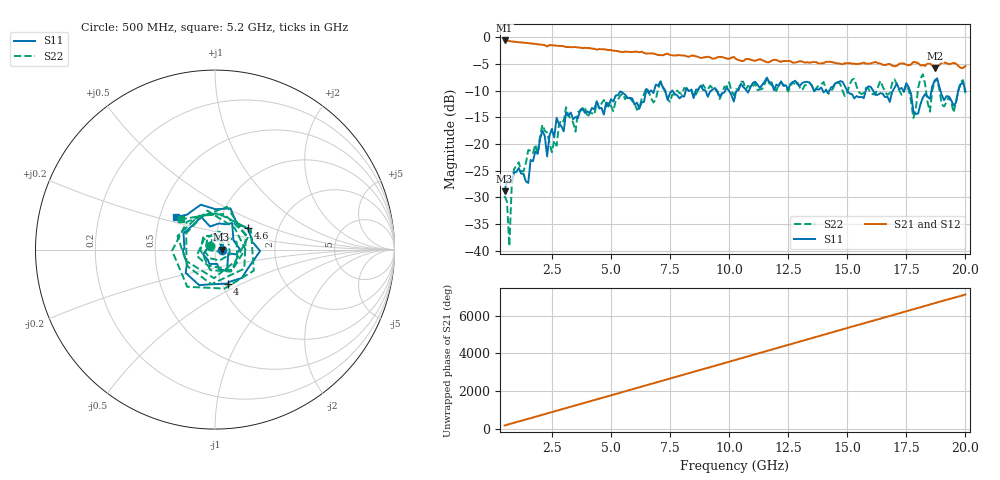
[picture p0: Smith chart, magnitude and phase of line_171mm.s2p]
!Created with skrf (http://scikit-rf.org).
# GHz S RI R 50.0
!freq ReS11 ImS11 ReS21 ImS21 ReS12 ImS12 ReS22 ImS22
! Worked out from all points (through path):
!   196 points, 500 MHz to 20 GHz, reference 50 ohm
!   highest |S21| = -0.62 dB at 500 MHz (marker M1); lowest = -5.8 dB at 18.7 GHz (marker M2)
!   lowest |S11| = -28.8 dB at 500 MHz (marker M3), VSWR 1.08, Z = 53.8 + j0.0536 ohm
!   |S11| at or under -10 dB: start of sweep to 6.487 GHz; 16.09 GHz to 16.93 GHz (836.9 MHz wide, 5.07 % of centre); 17.65 GHz to 18.57 GHz (914 MHz wide, 5.05 % of centre)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
!   |S22| runs from -39.1 to -7.0 dB; largest |S21 - S12| = 0.46
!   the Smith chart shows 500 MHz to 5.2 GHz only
!   S11 on the Smith chart (normalised r, x): 500 MHz: 1.08, +0.00; 4 GHz: 1.07, -0.42; 4.6 GHz: 1.40, +0.35; 5.2 GHz: 0.61, +0.24
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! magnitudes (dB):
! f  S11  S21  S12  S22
! 500 MHz  -28.8  -0.6  -0.6  -29.7
! 700 MHz  -27.1  -0.7  -0.8  -39.1
! 900 MHz  -25.3  -0.9  -0.9  -24.7
! 1.5 GHz  -27.3  -1.1  -1.2  -21.1
! 2.1 GHz  -17.5  -1.5  -1.5  -16.4
! 2.3 GHz  -22.3  -1.7  -1.8  -17.9
! 2.5 GHz  -17.2  -1.5  -1.5  -21.5
! 3.1 GHz  -14.1  -1.9  -1.9  -13.1
! 3.8 GHz  -13.3  -2.1  -2.1  -13.6
! 4 GHz  -13.9  -2.0  -2.1  -15.0
! 4.6 GHz  -13.2  -2.3  -2.3  -12.4
! 5.2 GHz  -10.9  -2.6  -2.6  -11.9
! 7 GHz  -9.1  -3.4  -3.4  -9.6
! 10.3 GHz  -10.1  -4.1  -4.1  -9.7
! 13.5 GHz  -9.1  -4.7  -4.7  -9.0
! 16.8 GHz  -12.1  -5.0  -5.1  -10.5
! 17.5 GHz  -8.6  -5.2  -5.2  -8.9
! 17.8 GHz  -13.9  -4.6  -4.7  -15.1
! 18.2 GHz  -11.3  -5.2  -5.4  -7.0
! 18.5 GHz  -11.6  -5.0  -5.0  -13.9
! 18.7 GHz  -8.1  -5.8  -5.8  -8.4
! 20 GHz  -10.1  -5.4  -5.4  -10.5
